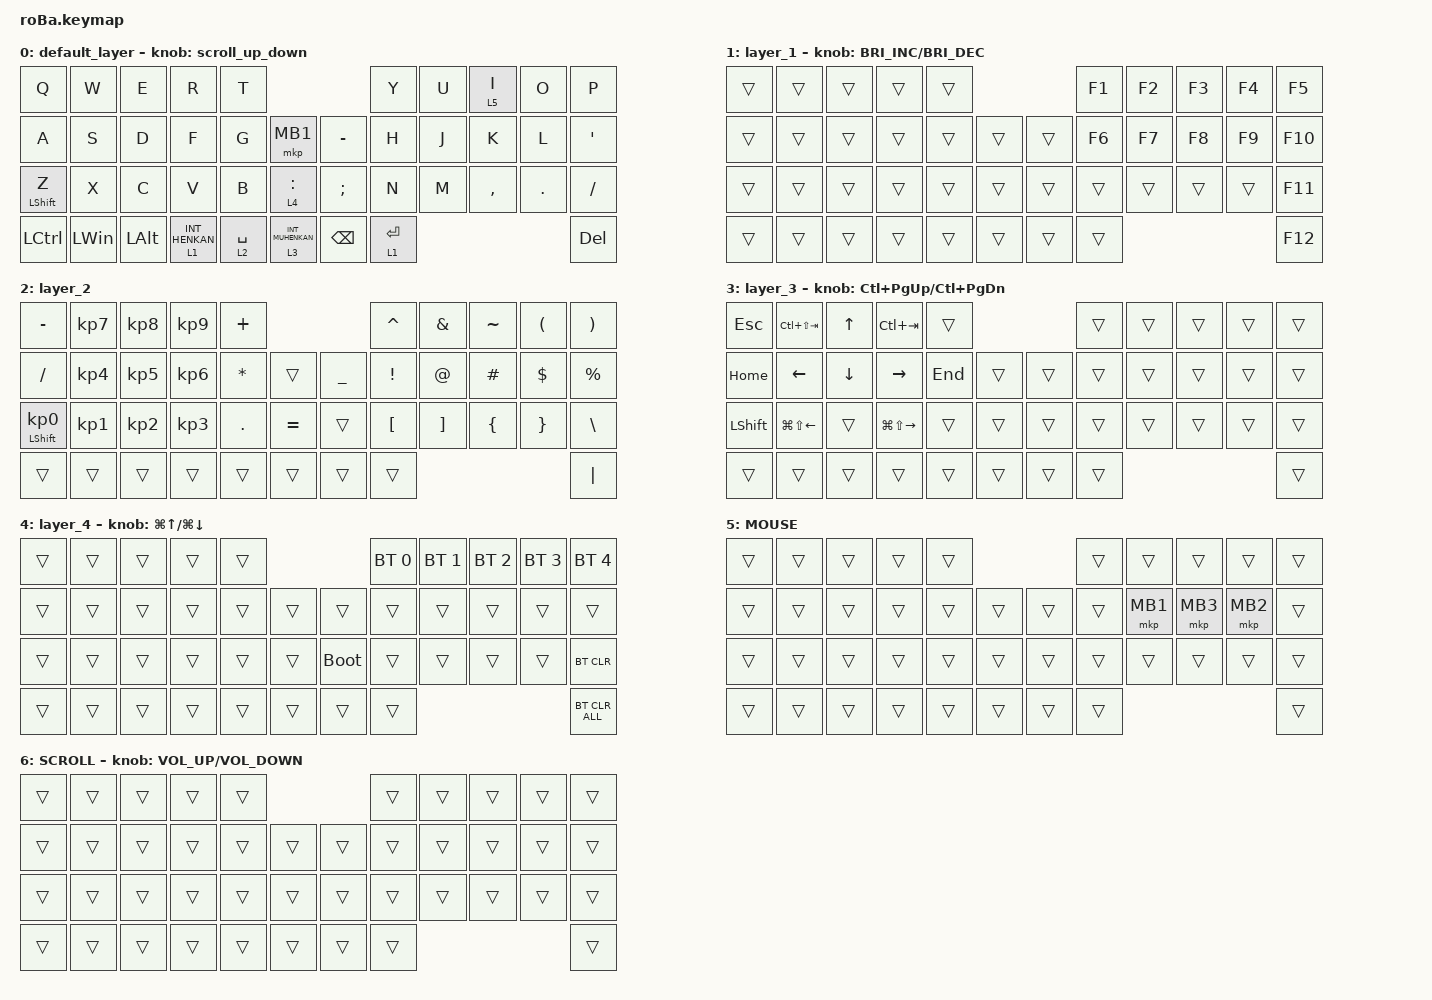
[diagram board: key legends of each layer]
#include <dt-bindings/zmk/mouse.h>
#include <behaviors.dtsi>
#include <dt-bindings/zmk/bt.h>
#include <dt-bindings/zmk/keys.h>
#include <dt-bindings/zmk/pointing.h>

#define ZMK_POINTING_DEFAULT_SCRL_VAL 100
#define MOUSE 5
#define SCROLL 6

&mt {
    flavor = "tap-preferred";
    quick-tap-ms = <0>;
    tapping-term-ms = <300>;
};

/ {
    combos {
        compatible = "zmk,combos";

        double_quotation {
            bindings = <&kp DOUBLE_QUOTES>;
            key-positions = <20 21>;
        };

        eq {
            bindings = <&kp EQUAL>;
            key-positions = <10 21>;
        };

        tab {
            bindings = <&kp TAB>;
            key-positions = <13 18>;
        };

        tab2 {
            bindings = <&kp TAB>;
            key-positions = <13 12>;
        };
    };

    macros {
        to_layer_0: to_layer_0 {
            compatible = "zmk,behavior-macro-one-param";
            #binding-cells = <1>;
            bindings = <&to 0 &macro_param_1to1 &kp MACRO_PLACEHOLDER>;
            label = "TO_LAYER_0";
        };

        to_layer_1: to_layer_1 {
            compatible = "zmk,behavior-macro-one-param";
            #binding-cells = <1>;
            bindings = <&to 1 &macro_param_1to1 &kp MACRO_PLACEHOLDER>;
            label = "TO_LAYER_1";
        };

        to_layer_5: to_layer_5 {
            compatible = "zmk,behavior-macro-one-param";
            #binding-cells = <1>;
            bindings = <&to 5 &macro_param_1to1 &kp MACRO_PLACEHOLDER>;
            label = "TO_LAYER_5";
        };

        to_layer_6: to_layer_6 {
            compatible = "zmk,behavior-macro-one-param";
            #binding-cells = <1>;
            bindings = <&to 6 &macro_param_1to1 &kp MACRO_PLACEHOLDER>;
            label = "TO_LAYER_6";
        };
    };

    behaviors {
        lt_to_layer_0: lt_to_layer_0 {
            compatible = "zmk,behavior-hold-tap";
            label = "LAYER_TAP_TO_0";
            bindings = <&mo>, <&to_layer_0>;

            #binding-cells = <2>;
            tapping-term-ms = <200>;
        };

        lt_to_layer_1: lt_to_layer_1 {
            compatible = "zmk,behavior-hold-tap";
            label = "LAYER_TAP_TO_1";
            bindings = <&mo>, <&to_layer_1>;

            #binding-cells = <2>;
            tapping-term-ms = <200>;
        };

        lt_to_layer_5: lt_to_layer_5 {
            compatible = "zmk,behavior-hold-tap";
            label = "LAYER_TAP_TO_5";
            bindings = <&mo>, <&to_layer_5>;

            #binding-cells = <2>;
            tapping-term-ms = <200>;
        };

        lt_to_layer_6: lt_to_layer_6 {
            compatible = "zmk,behavior-hold-tap";
            label = "LAYER_TAP_TO_6";
            bindings = <&mo>, <&to_layer_6>;

            #binding-cells = <2>;
            tapping-term-ms = <200>;
        };

        scroll_up_down: behavior_sensor_rotate_mouse_wheel_up_down {
            compatible = "zmk,behavior-sensor-rotate";
            #sensor-binding-cells = <0>;
            bindings = <&msc SCRL_DOWN>, <&msc SCRL_UP>;

            tap-ms = <20>;
        };

        hold_tap_shift: hold_tap_shift {
            compatible = "zmk,behavior-hold-tap";
            label = "Hold RIGHT_SHIFT, Tap Left Click";
            #binding-cells = <2>;
            tapping-term-ms = <200>;
            bindings = <&kp>, <&mkp>;
        };
    };

    keymap {
        compatible = "zmk,keymap";

        default_layer {
            bindings = <
&kp Q             &kp W         &kp E         &kp R             &kp T                                             &kp Y        &kp U  &lt 5 I    &kp O    &kp P
&kp A             &kp S         &kp D         &kp F             &kp G        &mkp MB1              &kp MINUS      &kp H        &kp J  &kp K      &kp L    &kp SQT
&mt LEFT_SHIFT Z  &kp X         &kp C         &kp V             &kp B        &lt 4 COLON           &kp SEMICOLON  &kp N        &kp M  &kp COMMA  &kp DOT  &kp SLASH
&kp LCTRL         &kp LEFT_WIN  &kp LEFT_ALT  &lt 1 INT_HENKAN  &lt 2 SPACE  &lt 3 INT_MUHENKAN    &kp BACKSPACE  &lt 1 ENTER                             &kp DEL
            >;

            sensor-bindings = <&scroll_up_down>;
        };

        layer_1 {
            bindings = <
&trans  &trans  &trans  &trans  &trans                    &kp F1  &kp F2  &kp F3  &kp F4  &kp F5
&trans  &trans  &trans  &trans  &trans  &trans    &trans  &kp F6  &kp F7  &kp F8  &kp F9  &kp F10
&trans  &trans  &trans  &trans  &trans  &trans    &trans  &trans  &trans  &trans  &trans  &kp F11
&trans  &trans  &trans  &trans  &trans  &trans    &trans  &trans                          &kp F12
            >;

            sensor-bindings = <&inc_dec_kp C_BRIGHTNESS_INC C_BRIGHTNESS_DEC>;
        };

        layer_2 {
            bindings = <
&kp MINUS                   &kp KP_NUMBER_7  &kp KP_NUMBER_8  &kp KP_NUMBER_9  &kp PLUS                                                 &kp CARET         &kp AMPERSAND      &kp TILDE       &kp LEFT_PARENTHESIS  &kp RIGHT_PARENTHESIS
&kp SLASH                   &kp KP_NUMBER_4  &kp KP_NUMBER_5  &kp KP_NUMBER_6  &kp ASTERISK  &trans                     &kp UNDERSCORE  &kp EXCLAMATION   &kp AT_SIGN        &kp HASH        &kp DOLLAR            &kp PERCENT
&mt LEFT_SHIFT KP_NUMBER_0  &kp KP_NUMBER_1  &kp KP_NUMBER_2  &kp KP_NUMBER_3  &kp PERIOD    &kp EQUAL                  &trans          &kp LEFT_BRACKET  &kp RIGHT_BRACKET  &kp LEFT_BRACE  &kp RIGHT_BRACE       &kp BACKSLASH
&trans                      &trans           &trans           &trans           &trans        &trans                     &trans          &trans                                                                     &kp PIPE
            >;
        };

        layer_3 {
            bindings = <
&kp ESCAPE      &kp LC(LS(TAB))         &kp UP_ARROW    &kp LC(TAB)              &trans                     &trans  &trans  &trans  &trans  &trans
&kp HOME        &kp LEFT_ARROW          &kp DOWN_ARROW  &kp RIGHT_ARROW          &kp END  &trans    &trans  &trans  &trans  &trans  &trans  &trans
&kp LEFT_SHIFT  &kp LG(LS(LEFT_ARROW))  &trans          &kp LG(LS(RIGHT_ARROW))  &trans   &trans    &trans  &trans  &trans  &trans  &trans  &trans
&trans          &trans                  &trans          &trans                   &trans   &trans    &trans  &trans                          &trans
            >;

            sensor-bindings = <&inc_dec_kp LC(PAGE_UP) LC(PAGE_DOWN)>;
        };

        layer_4 {
            bindings = <
&trans  &trans  &trans  &trans  &trans                         &bt BT_SEL 0  &bt BT_SEL 1  &bt BT_SEL 2  &bt BT_SEL 3  &bt BT_SEL 4
&trans  &trans  &trans  &trans  &trans  &trans    &trans       &trans        &trans        &trans        &trans        &trans
&trans  &trans  &trans  &trans  &trans  &trans    &bootloader  &trans        &trans        &trans        &trans        &bt BT_CLR
&trans  &trans  &trans  &trans  &trans  &trans    &trans       &trans                                                  &bt BT_CLR_ALL
            >;

            sensor-bindings = <&inc_dec_kp LG(UP_ARROW) LG(DOWN_ARROW)>;
        };

        MOUSE {
            bindings = <
&trans  &trans  &trans  &trans  &trans                    &trans  &trans    &trans    &trans    &trans
&trans  &trans  &trans  &trans  &trans  &trans    &trans  &trans  &mkp MB1  &mkp MB3  &mkp MB2  &trans
&trans  &trans  &trans  &trans  &trans  &trans    &trans  &trans  &trans    &trans    &trans    &trans
&trans  &trans  &trans  &trans  &trans  &trans    &trans  &trans                                &trans
            >;
        };

        SCROLL {
            bindings = <
&trans  &trans  &trans  &trans  &trans                    &trans  &trans    &trans    &trans    &trans
&trans  &trans  &trans  &trans  &trans  &trans    &trans  &trans  &trans    &trans    &trans    &trans
&trans  &trans  &trans  &trans  &trans  &trans    &trans  &trans  &trans    &trans    &trans    &trans
&trans  &trans  &trans  &trans  &trans  &trans    &trans  &trans                                &trans
            >;

            sensor-bindings = <&inc_dec_kp C_VOLUME_UP C_VOLUME_DOWN>;
        };
    };
};
